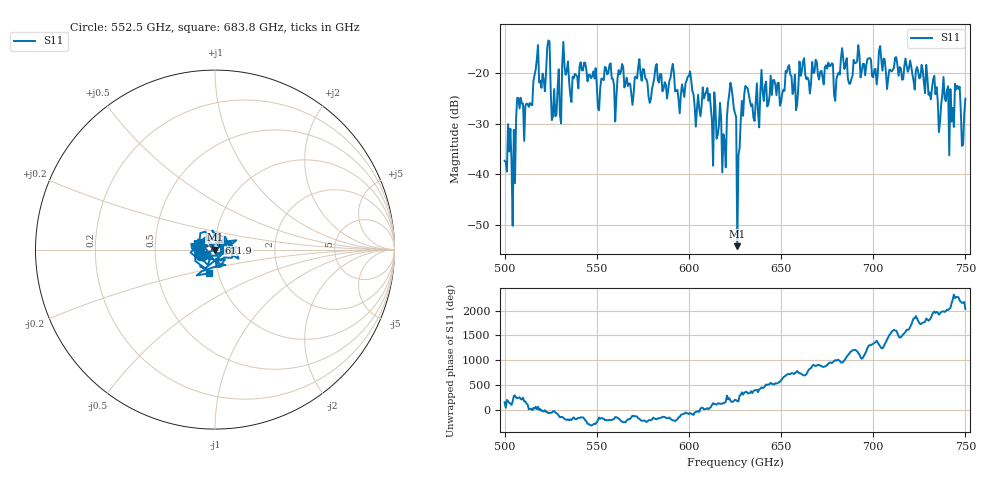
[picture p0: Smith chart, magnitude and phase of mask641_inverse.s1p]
!Created with skrf (http://scikit-rf.org).
# GHz S MA R 50.0
!freq magS11 angS11
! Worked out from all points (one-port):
!   401 points, 500 GHz to 750 GHz, reference 50 ohm
!   lowest |S11| = -54.2 dB at 626.2 GHz (marker M1), VSWR 1.00, Z = 49.8 - j0.00862 ohm
!   |S11| at or under -10 dB: start of sweep to end of sweep
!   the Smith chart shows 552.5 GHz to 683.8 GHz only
!   S11 on the Smith chart (normalised r, x): 552.5 GHz: 0.85, -0.06; 611.9 GHz: 1.04, +0.08; 683.8 GHz: 0.90, -0.24
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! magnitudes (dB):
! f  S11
! 500 GHz  -37.3
! 505 GHz  -31.2
! 507.5 GHz  -24.9
! 513.8 GHz  -25.9
! 516.9 GHz  -19.3
! 520.6 GHz  -20.1
! 523.8 GHz  -13.6
! 526.9 GHz  -23.2
! 531.2 GHz  -18.3
! 552.5 GHz  -21.1
! 562.5 GHz  -20.3
! 579.4 GHz  -25.1
! 590.6 GHz  -19.3
! 593.8 GHz  -23.3
! 600 GHz  -20.6
! 611.9 GHz  -26.9
! 619.4 GHz  -33.5
! 622.5 GHz  -21.9
! 625 GHz  -27.9
! 626.2 GHz  -54.2
! 631.2 GHz  -22.8
! 635 GHz  -28.8
! 656.2 GHz  -24.1
! 680 GHz  -21.2
! 683.8 GHz  -17.3
! 687.5 GHz  -22.1
! 718.8 GHz  -19.7
! 750 GHz  -25.0
